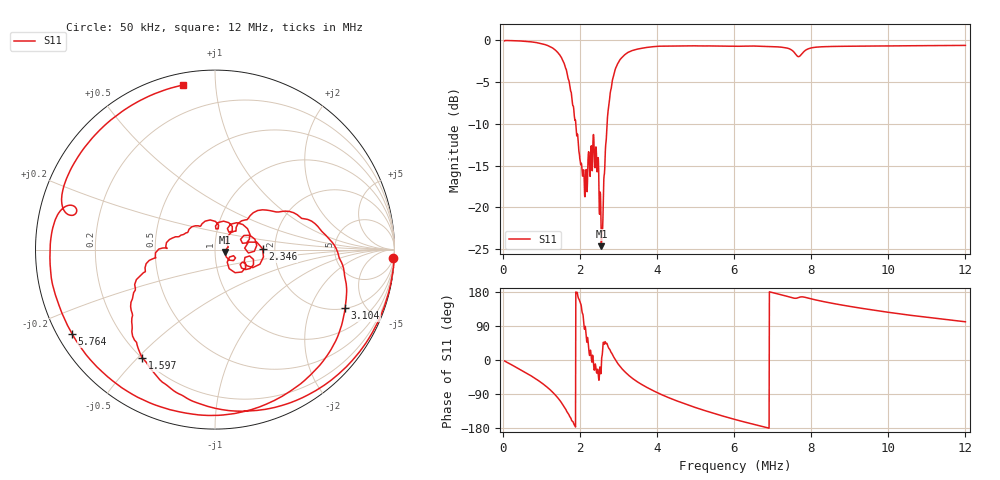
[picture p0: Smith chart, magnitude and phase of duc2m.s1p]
# Hz S RI R 50
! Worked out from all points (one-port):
!   1515 points, 50 kHz to 12 MHz, reference 50 ohm
!   lowest |S11| = -24.7 dB at 2.56 MHz (marker M1), VSWR 1.12, Z = 56 - j1.54 ohm
!   |S11| at or under -10 dB: 1.895 MHz to 2.708 MHz (812.4 kHz wide, 35.3 % of centre)
!   S11 on the Smith chart (normalised r, x): 50 kHz: 5, -43; 1.597 MHz: 0.20, -0.52; 2.346 MHz: 1.72, +0.02; 3.104 MHz: 2.01, -3.58; 5.764 MHz: 0.04, -0.27; 12 MHz: 0.06, +0.82
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50000  0.9935 -0.0455
586600  0.8316 -0.5335
1067992  0.404 -0.8586
1336392  0.0121 -0.8861
1549392  -0.3415 -0.6854
1596792  -0.4043 -0.603
1754584  -0.4534 -0.2402
2007184  -0.1711 0.0868
2141284  0.00284 0.132
2346484  0.2652 0.00477
2441276  0.1483 -0.1029
2559576  0.0569 -0.0137
2654276  0.1275 0.1441
2772676  0.3908 0.2144
2906876  0.655 0.0383
3040976  0.7335 -0.2208
3104176  0.7247 -0.3274
3364568  0.577 -0.6519
3688168  0.3171 -0.8471
4532560  -0.2945 -0.8785
5763744  -0.7966 -0.4691
6024244  -0.85 -0.361
6916036  -0.9191 0.00145
7523628  -0.8308 0.2414
7784128  -0.8213 0.197
9015312  -0.7198 0.5779
1.05069e7  -0.449 0.8133
1.199849e7  -0.1769 0.9168
